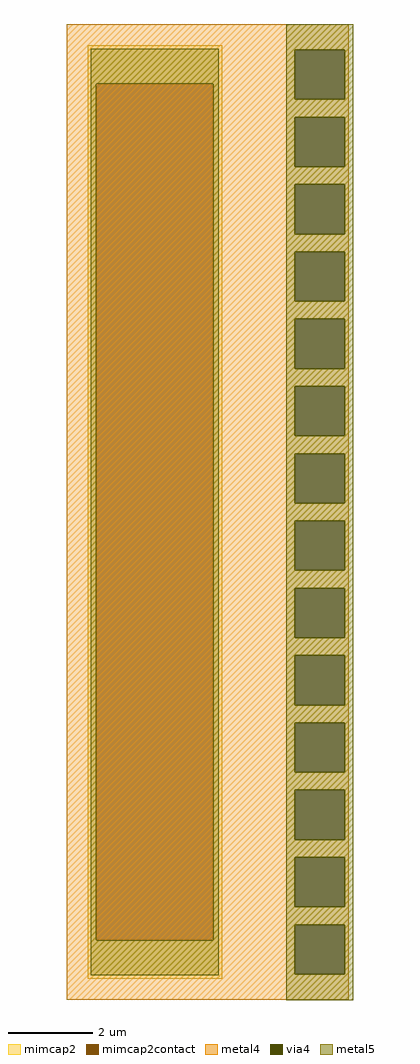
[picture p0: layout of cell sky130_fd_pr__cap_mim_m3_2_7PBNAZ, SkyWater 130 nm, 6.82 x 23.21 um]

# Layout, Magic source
magic
tech sky130A
magscale 1 2
<< metal4 >>
rect -671 2198 671 2320
rect -671 1962 415 2198
rect 651 1962 671 2198
rect -671 1878 671 1962
rect -671 1642 415 1878
rect 651 1642 671 1878
rect -671 1558 671 1642
rect -671 1322 415 1558
rect 651 1322 671 1558
rect -671 1238 671 1322
rect -671 1002 415 1238
rect 651 1002 671 1238
rect -671 918 671 1002
rect -671 682 415 918
rect 651 682 671 918
rect -671 598 671 682
rect -671 362 415 598
rect 651 362 671 598
rect -671 278 671 362
rect -671 42 415 278
rect 651 42 671 278
rect -671 -42 671 42
rect -671 -278 415 -42
rect 651 -278 671 -42
rect -671 -362 671 -278
rect -671 -598 415 -362
rect 651 -598 671 -362
rect -671 -682 671 -598
rect -671 -918 415 -682
rect 651 -918 671 -682
rect -671 -1002 671 -918
rect -671 -1238 415 -1002
rect 651 -1238 671 -1002
rect -671 -1322 671 -1238
rect -671 -1558 415 -1322
rect 651 -1558 671 -1322
rect -671 -1642 671 -1558
rect -671 -1878 415 -1642
rect 651 -1878 671 -1642
rect -671 -1962 671 -1878
rect -671 -2198 415 -1962
rect 651 -2198 671 -1962
rect -671 -2320 671 -2198
<< via4 >>
rect 415 1962 651 2198
rect 415 1642 651 1878
rect 415 1322 651 1558
rect 415 1002 651 1238
rect 415 682 651 918
rect 415 362 651 598
rect 415 42 651 278
rect 415 -278 651 -42
rect 415 -598 651 -362
rect 415 -918 651 -682
rect 415 -1238 651 -1002
rect 415 -1558 651 -1322
rect 415 -1878 651 -1642
rect 415 -2198 651 -1962
<< mimcap2 >>
rect -571 2038 69 2220
rect -571 -2038 -529 2038
rect 27 -2038 69 2038
rect -571 -2220 69 -2038
<< mimcap2contact >>
rect -529 -2038 27 2038
<< metal5 >>
rect -555 2038 53 2204
rect -555 -2038 -529 2038
rect 27 -2038 53 2038
rect -555 -2204 53 -2038
rect 373 2198 693 2321
rect 373 1962 415 2198
rect 651 1962 693 2198
rect 373 1878 693 1962
rect 373 1642 415 1878
rect 651 1642 693 1878
rect 373 1558 693 1642
rect 373 1322 415 1558
rect 651 1322 693 1558
rect 373 1238 693 1322
rect 373 1002 415 1238
rect 651 1002 693 1238
rect 373 918 693 1002
rect 373 682 415 918
rect 651 682 693 918
rect 373 598 693 682
rect 373 362 415 598
rect 651 362 693 598
rect 373 278 693 362
rect 373 42 415 278
rect 651 42 693 278
rect 373 -42 693 42
rect 373 -278 415 -42
rect 651 -278 693 -42
rect 373 -362 693 -278
rect 373 -598 415 -362
rect 651 -598 693 -362
rect 373 -682 693 -598
rect 373 -918 415 -682
rect 651 -918 693 -682
rect 373 -1002 693 -918
rect 373 -1238 415 -1002
rect 651 -1238 693 -1002
rect 373 -1322 693 -1238
rect 373 -1558 415 -1322
rect 651 -1558 693 -1322
rect 373 -1642 693 -1558
rect 373 -1878 415 -1642
rect 651 -1878 693 -1642
rect 373 -1962 693 -1878
rect 373 -2198 415 -1962
rect 651 -2198 693 -1962
rect 373 -2321 693 -2198
<< properties >>
string FIXED_BBOX -671 -2320 169 2320
<< end >>
